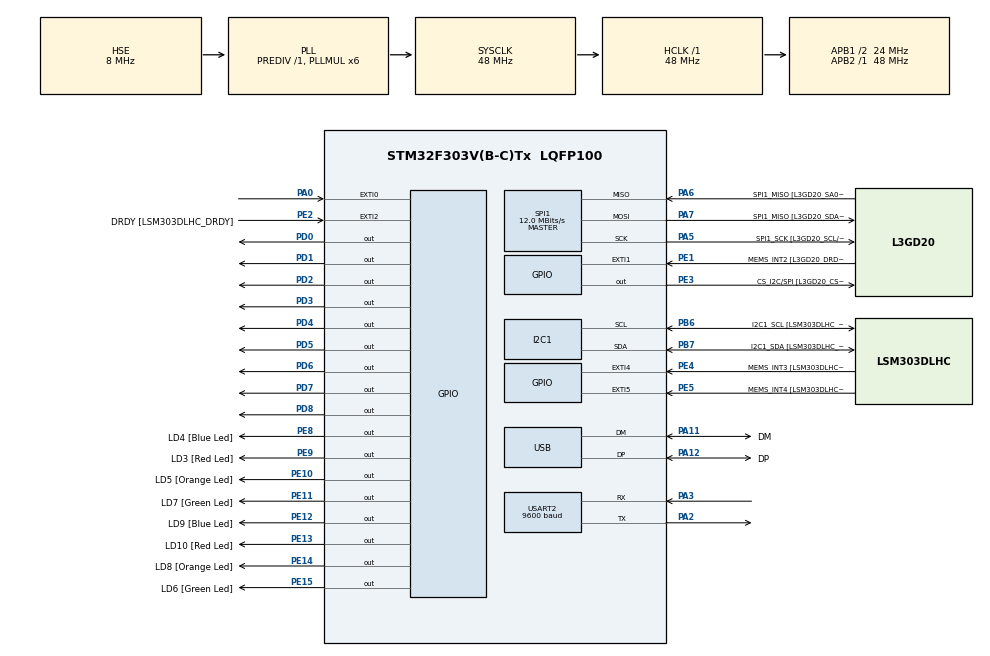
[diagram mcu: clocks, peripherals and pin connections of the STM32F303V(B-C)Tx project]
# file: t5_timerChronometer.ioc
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I2C1.Timing-I2C=0x2000090E
Mcu.Family=STM32F3
Mcu.Name=STM32F303V(B-C)Tx
Mcu.Package=LQFP100
NVIC.EXTI0_IRQn=true\:0\:0\:false\:false\:true\:true\:true\:true
NVIC.PriorityGroup=NVIC_PRIORITYGROUP_0
NVIC.TIM2_IRQn=true\:0\:0\:false\:false\:true\:true\:true\:true
NVIC.TIM4_IRQn=true\:0\:0\:false\:false\:true\:true\:true\:true
NVIC.USART2_IRQn=true\:0\:0\:false\:false\:true\:true\:true\:true
PA0.GPIO_ModeDefaultEXTI=GPIO_MODE_IT_RISING_FALLING
PA0.Signal=GPXTI0
PA11.GPIO_Label=DM
PA11.Mode=Device
PA11.Signal=USB_DM
PA12.GPIO_Label=DP
PA12.Mode=Device
PA12.Signal=USB_DP
PA13.GPIO_Label=SWDIO
PA13.Mode=Serial_Wire
PA13.Signal=SYS_JTMS-SWDIO
PA14.GPIO_Label=SWCLK
PA14.Mode=Serial_Wire
PA14.Signal=SYS_JTCK-SWCLK
PA2.Mode=Asynchronous
PA2.Signal=USART2_TX
PA3.Mode=Asynchronous
PA3.Signal=USART2_RX
PA5.GPIO_Label=SPI1_SCK [L3GD20_SCL/SPC]
PA5.Mode=Full_Duplex_Master
PA5.Signal=SPI1_SCK
PA6.GPIO_Label=SPI1_MISO [L3GD20_SA0/SDO]
PA6.Mode=Full_Duplex_Master
PA6.Signal=SPI1_MISO
PA7.GPIO_Label=SPI1_MISO [L3GD20_SDA/SDI/SDO]
PA7.Mode=Full_Duplex_Master
PA7.Signal=SPI1_MOSI
PB3.GPIO_Label=SWO
PB3.Signal=SYS_JTDO-TRACESWO
PB6.GPIO_Label=I2C1_SCL [LSM303DLHC_SCL]
PB6.GPIO_Pu=GPIO_PULLUP
PB6.Mode=I2C
PB6.Signal=I2C1_SCL
PB7.GPIO_Label=I2C1_SDA [LSM303DLHC_SDA]
PB7.GPIO_Pu=GPIO_PULLUP
PB7.Mode=I2C
PB7.Signal=I2C1_SDA
PC14-OSC32_IN.GPIO_Label=OSC32_IN
PC14-OSC32_IN.Signal=RCC_OSC32_IN
PC15-OSC32_OUT.GPIO_Label=OSC32_OUT
PC15-OSC32_OUT.Signal=RCC_OSC32_OUT
PD0.Signal=GPIO_Output
PD1.Signal=GPIO_Output
PD2.Signal=GPIO_Output
PD3.Signal=GPIO_Output
PD4.Signal=GPIO_Output
PD5.Signal=GPIO_Output
PD6.Signal=GPIO_Output
PD7.Signal=GPIO_Output
PD8.Signal=GPIO_Output
PE1.GPIO_Label=MEMS_INT2 [L3GD20_DRDY/INT2]
PE1.GPIO_ModeDefaultEXTI=GPIO_MODE_EVT_RISING
PE1.Signal=GPXTI1
PE10.GPIO_Label=LD5 [Orange Led]
PE10.Signal=GPIO_Output
PE11.GPIO_Label=LD7 [Green Led]
PE11.Signal=GPIO_Output
PE12.GPIO_Label=LD9 [Blue Led]
PE12.Signal=GPIO_Output
PE13.GPIO_Label=LD10 [Red Led]
PE13.Signal=GPIO_Output
PE14.GPIO_Label=LD8 [Orange Led]
PE14.Signal=GPIO_Output
PE15.GPIO_Label=LD6 [Green Led]
PE15.Signal=GPIO_Output
PE2.GPIO_Label=DRDY [LSM303DLHC_DRDY]
PE2.GPIO_ModeDefaultEXTI=GPIO_MODE_EVT_RISING
PE2.Signal=GPXTI2
PE3.GPIO_Label=CS_I2C/SPI [L3GD20_CS_I2C/SPI]
PE3.Signal=GPIO_Output
PE4.GPIO_Label=MEMS_INT3 [LSM303DLHC_INT1]
PE4.GPIO_ModeDefaultEXTI=GPIO_MODE_EVT_RISING
PE4.Signal=GPXTI4
PE5.GPIO_Label=MEMS_INT4 [LSM303DLHC_INT2]
PE5.GPIO_ModeDefaultEXTI=GPIO_MODE_EVT_RISING
PE5.Signal=GPXTI5
PE8.GPIO_Label=LD4 [Blue Led]
PE8.Signal=GPIO_Output
PE9.GPIO_Label=LD3 [Red Led]
PE9.Signal=GPIO_Output
PF0-OSC_IN.GPIO_Label=OSC_IN
PF0-OSC_IN.Mode=HSE-External-Clock-Source
PF0-OSC_IN.Signal=RCC_OSC_IN
PF1-OSC_OUT.GPIO_Label=OSC_OUT
PF1-OSC_OUT.Signal=RCC_OSC_OUT
ProjectManager.HeapSize=0x200
ProjectManager.StackSize=0x400
ProjectManager.TargetToolchain=STM32CubeIDE
RCC.AHBFreq_Value=48000000
RCC.APB1CLKDivider=RCC_HCLK_DIV2
RCC.APB1Freq_Value=24000000
RCC.APB1TimFreq_Value=48000000
RCC.APB2Freq_Value=48000000
RCC.APB2TimFreq_Value=48000000
RCC.CortexFreq_Value=48000000
RCC.HCLKFreq_Value=48000000
RCC.HSE_VALUE=8000000
RCC.HSI_VALUE=8000000
RCC.LSE_VALUE=32768
RCC.PLLMUL=RCC_PLL_MUL6
RCC.SYSCLKFreq_VALUE=48000000
RCC.SYSCLKSourceVirtual=RCC_SYSCLKSOURCE_PLLCLK
RCC.USBFreq_Value=48000000
SPI1.BaudRatePrescaler=SPI_BAUDRATEPRESCALER_4
SPI1.BaudRatePrescaler-Full_Duplex_Master=SPI_BAUDRATEPRESCALER_2
SPI1.CalculateBaudRate=12.0 MBits/s
SPI1.CalculateBaudRate-Full_Duplex_Master=24.0 MBits/s
SPI1.Direction=SPI_DIRECTION_2LINES
SPI1.Mode=SPI_MODE_MASTER
SPI1.Mode-Full_Duplex_Master=SPI_MODE_MASTER
SPI1.VirtualType=VM_MASTER
TIM2.Period=(1000-1)
TIM2.Prescaler=(240-1)
TIM4.Period=10000-1
TIM4.Prescaler=4800-1
USART2.BaudRate=9600
USART2.VirtualMode-Asynchronous=VM_ASYNC
VP_TIM2_VS_ClockSourceINT.Mode=Internal
VP_TIM4_VS_ClockSourceINT.Mode=Internal
board=STM32F3DISCOVERY

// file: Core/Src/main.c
/* USER CODE BEGIN Header */
/**
  ******************************************************************************
  * @file           : main.c
  * @brief          : Main program body
  ******************************************************************************
  * @attention
  *
  * Copyright (c) 2024 STMicroelectronics.
  * All rights reserved.
  *
  * This software is licensed under terms that can be found in the LICENSE file
  * in the root directory of this software component.
  * If no LICENSE file comes with this software, it is provided AS-IS.
  *
  ******************************************************************************
  */
/* USER CODE END Header */
#include "main.h"

I2C_HandleTypeDef hi2c1;

SPI_HandleTypeDef hspi1;

TIM_HandleTypeDef htim2;
TIM_HandleTypeDef htim4;

UART_HandleTypeDef huart2;

PCD_HandleTypeDef hpcd_USB_FS;

/* USER CODE BEGIN PV */
GPIO_TypeDef * pin = GPIOD;
uint16_t bit0 = GPIO_PIN_0;
uint16_t bit1 = GPIO_PIN_1;
uint16_t bit2 = GPIO_PIN_2;
uint16_t bit3 = GPIO_PIN_3;
uint16_t bitActive0 = GPIO_PIN_4;
uint16_t bitActive1 = GPIO_PIN_5;
uint16_t bitActive2 = GPIO_PIN_6;
uint16_t bitActive3 = GPIO_PIN_7;

uint8_t initial_time[4];
uint8_t time[4] = {1, 2, 3, 4}; // [3, 2, 1, 0] MM:SS

uint8_t chr_timer = 2;
uint8_t uart_mode = 0;
uint8_t stop = 1;
static uint8_t last_chr_timer;

char data[100] = "salam";

/* USER CODE END PV */

void SystemClock_Config(void);
static void MX_GPIO_Init(void);
static void MX_I2C1_Init(void);
static void MX_SPI1_Init(void);
static void MX_USB_PCD_Init(void);
static void MX_USART2_UART_Init(void);
static void MX_TIM2_Init(void);
static void MX_TIM4_Init(void);

/* USER CODE BEGIN 0 */

enum TIMER_TYPE {
	CHRONOMETER,
	TIMER
};

enum TIMER_STATAE {
	START, PAUSE, TIMRESET
};

void uartError() {
	strcpy(data, "INVALID INPUT");
	HAL_UART_Transmit(&huart2, data, 13, 50);
}

void uartLog(uint8_t tmtype, uint8_t tmstate) {
	(data, (tmtype == CHRONOMETER) ? "CHRONOMETER" : "TIMER");
	sprintf(data, "[%s] : [%s] : [%d%d:%d%d]", (tmtype == CHRONOMETER) ? "CHRONOMETER" : "TIMER", (tmstate == START) ? "START" : (tmstate == PAUSE) ? "PAUSE" : "RESET", time[0], time[1], time[2], time[3], "\n");
	uint8_t length = (tmtype == TIMER ? 27 : 33);
	HAL_UART_Transmit(&huart2, data, length, 100);
}

void HAL_UART_RxCpltCallback(UART_HandleTypeDef *huart) {

	if(uart_mode == 0) {
		data[5] = '\0';
//		HAL_UART_Transmit(&huart2, data, 6, 100);
		if(strcmp(data, "TIMER") == 0) {
			uart_mode = 1;
			last_chr_timer = 1;
			strcpy(data, "SET TIME");
			HAL_UART_Transmit(&huart2, data, 8, 50);
			HAL_UART_Receive_IT(&huart2, data, 5);
		}
		else {
			HAL_UART_Receive(&huart2, data+5, 6, 100);
			data[11] = '\0';

			if (strcmp(data, "CHRONOMETER") == 0) {
				initial_time[0] = initial_time[1] = initial_time[2] = initial_time[3] = 0;
				last_chr_timer = 0;
			}
			else {
				uartError();
			}
		}
//
//	if(uart_mode == 0) {
//		if(data[0] == 'c') {
//			initial_time[0] = initial_time[1] = initial_time[2] = initial_time[3] = 0;
//			last_chr_timer = 0;
//		} else if(data[0] == 't') {
//			uart_mode = 1;
//			last_chr_timer = 1;
//			strcpy(data, "SET TIME");
//			HAL_UART_Transmit(&huart2, data, 8, 50);
//			HAL_UART_Receive_IT(&huart2, data, 5);
//			}
	} else if (uart_mode == 1) {
		uint8_t s0 = data[4] - '0';
		if(s0 > 9 || s0 < 0){
			uartError();
			strcpy(data, "SET TIME");
			HAL_UART_Transmit(&huart2, data, 8, 50);
			HAL_UART_Receive_IT(&huart2, data, 5);
			return;
		}
		uint8_t s1 = data[3] - '0';
		if(s1 > 5 || s1 < 0) {
			uartError();
			strcpy(data, "SET TIME");
			HAL_UART_Transmit(&huart2, data, 8, 50);
			HAL_UART_Receive_IT(&huart2, data, 5);
			return;
		}
		uint8_t m0 = data[1] - '0';
		if(m0 > 9 || m0 < 0) {
			uartError();
			strcpy(data, "SET TIME");
			HAL_UART_Transmit(&huart2, data, 8, 50);
			HAL_UART_Receive_IT(&huart2, data, 5);
			return;
		}
		uint8_t m1 = data[0] - '0';
		if(m1 > 5 || m1 < 0) {
			uartError();
			strcpy(data, "SET TIME");
			HAL_UART_Transmit(&huart2, data, 8, 50);
			HAL_UART_Receive_IT(&huart2, data, 5);
			return;
		}
		if(data[2] != ':') {
			uartError();
			strcpy(data, "SET TIME");
			HAL_UART_Transmit(&huart2, data, 8, 50);
			HAL_UART_Receive_IT(&huart2, data, 5);
			return;
		}
		initial_time[0] = time[0] = m1;
		initial_time[1] = time[1] = m0;
		initial_time[2] = time[2] = s1;
		initial_time[3] = time[3] = s0;
	}

}

void HAL_GPIO_EXTI_Callback(uint16_t GPIO_Pin)
{
    if (GPIO_Pin == GPIO_PIN_0)
    {
    	static uint32_t last_time = 0;
    	static uint8_t last_state = 0;
    	if(HAL_GetTick() - last_time < 100)
    		return ;
    	if (HAL_GPIO_ReadPin(GPIOA, GPIO_PIN_0) && last_state == 0) {
	    	last_time = HAL_GetTick();
	    	last_state = 1;
    	}
    	else if(!HAL_GPIO_ReadPin(GPIOA, GPIO_PIN_0)) {
    		if(HAL_GetTick() - last_time >= 3000) {
    			if(!stop) last_chr_timer = chr_timer;
    			stop = 1;
    			chr_timer = 2;
    			time[0] = initial_time[0];
    			time[1] = initial_time[1];
    			time[2] = initial_time[2];
    			time[3] = initial_time[3];
    			uartLog(last_chr_timer == 0 ? CHRONOMETER : TIMER, TIMRESET);
    			last_time = HAL_GetTick();
    		}
    		else {
    			if(stop) {
    				chr_timer = last_chr_timer;
    				stop = 0;
        			uartLog(chr_timer == 0 ? CHRONOMETER : TIMER, START);

    			}
    			else {
    				last_chr_timer = chr_timer;
    				chr_timer = 2;
    				stop = 1;
        			uartLog(last_chr_timer == 0 ? CHRONOMETER : TIMER, PAUSE);

    			}
    			last_time = HAL_GetTick();
    		}
			last_state = 0;
    	}
    }
}

void display_digit(uint8_t num, uint8_t digit, uint8_t dcpoint){
	// Which of the four digits is this
	// Active high 7-segment, low pin -> digit on
    HAL_GPIO_WritePin(pin, bitActive0, digit == 0 ? 0 : 1);
    HAL_GPIO_WritePin(pin, bitActive1, digit == 1 ? 0 : 1);
    HAL_GPIO_WritePin(pin, bitActive2, digit == 2 ? 0 : 1);
    HAL_GPIO_WritePin(pin, bitActive3, digit == 3 ? 0 : 1);

    // ABCD BCD Output
    HAL_GPIO_WritePin(pin, bit0, (num == 1 || num == 3 || num == 5 || num == 7 || num == 9));
    HAL_GPIO_WritePin(pin, bit1, (num == 2 || num == 3 || num == 6 || num == 7));
    HAL_GPIO_WritePin(pin, bit2, (num == 4 || num == 5 || num == 6 || num == 7));
    HAL_GPIO_WritePin(pin, bit3, (num == 8 || num == 9));

    // Is decimal point on or off for digit?
    HAL_GPIO_WritePin(GPIOD, GPIO_PIN_8, dcpoint == 1 ? 1 : 0);
//    HAL_Delay(delay);
  }

void HAL_TIM_PeriodElapsedCallback(TIM_HandleTypeDef *htim) {
	if(htim == &htim2) {
		static digitno = 0;
		display_digit(time[digitno], digitno, digitno == 1);
		++digitno;
		digitno %= 4;
	}

	if(htim == &htim4) {
		if(chr_timer == 0) {
			++time[3];
				if(time[3] == 10) {
					time[3] = 0;
					++time[2];
					if(time[2] == 6) {
						time[2] = 0;
						++time[1];
						if(time[1] == 10) {
							time[1] = 0;
							++time[0];
							time[0] %= 6;
						}
					}
			}
		} else if (chr_timer == 1) {
			if(time[3] == 0) {
				if(time[2] == time[1] == time[0] == 0) {
					// finish
					chr_timer = 2;
					return;
				}
				time[3] = 9;
				if(time[2] == 0) {
					time[2] = 5;
					if(time[1] == 0) {
						time[1] = 9;
						if(time[0] == 9)
							time[0] = 5;
						else -- time[0];
					}
					else --time[1];
				}
				else --time[2];
			}
			else --time[3];

		}

		}
}

/* USER CODE END 0 */

int main(void)
{

  /* MCU Configuration--------------------------------------------------------*/

  /* Reset of all peripherals, Initializes the Flash interface and the Systick. */
  HAL_Init();

  /* Configure the system clock */
  SystemClock_Config();

  /* Initialize all configured peripherals */
  MX_GPIO_Init();
  MX_I2C1_Init();
  MX_SPI1_Init();
  MX_USB_PCD_Init();
  MX_USART2_UART_Init();
  MX_TIM2_Init();
  MX_TIM4_Init();

  /* Infinite loop */
  /* USER CODE BEGIN WHILE */

//  HAL_UART_Transmit(&huart2, data, 4, 100);

  strcpy(data, "CHOOSE[TIMER/CHRONOMETER]");
  HAL_UART_Transmit(&huart2, data, strlen(data), 100);
  HAL_UART_Receive_IT(&huart2, data, 5);
  time[3] = time[2] = time[1] = time[0] = 0;
  HAL_TIM_Base_Start_IT(&htim2);
  HAL_TIM_Base_Start_IT(&htim4);
  while (1)
  {
    /* USER CODE END WHILE */

  }
}

void SystemClock_Config(void)
{
  RCC_OscInitTypeDef RCC_OscInitStruct = {0};
  RCC_ClkInitTypeDef RCC_ClkInitStruct = {0};
  RCC_PeriphCLKInitTypeDef PeriphClkInit = {0};

  /** Initializes the RCC Oscillators according to the specified parameters
  * in the RCC_OscInitTypeDef structure.
  */
  RCC_OscInitStruct.OscillatorType = RCC_OSCILLATORTYPE_HSI|RCC_OSCILLATORTYPE_HSE;
  RCC_OscInitStruct.HSEState = RCC_HSE_BYPASS;
  RCC_OscInitStruct.HSEPredivValue = RCC_HSE_PREDIV_DIV1;
  RCC_OscInitStruct.HSIState = RCC_HSI_ON;
  RCC_OscInitStruct.HSICalibrationValue = RCC_HSICALIBRATION_DEFAULT;
  RCC_OscInitStruct.PLL.PLLState = RCC_PLL_ON;
  RCC_OscInitStruct.PLL.PLLSource = RCC_PLLSOURCE_HSE;
  RCC_OscInitStruct.PLL.PLLMUL = RCC_PLL_MUL6;
  if (HAL_RCC_OscConfig(&RCC_OscInitStruct) != HAL_OK)
  {
    Error_Handler();
  }

  /** Initializes the CPU, AHB and APB buses clocks
  */
  RCC_ClkInitStruct.ClockType = RCC_CLOCKTYPE_HCLK|RCC_CLOCKTYPE_SYSCLK
                              |RCC_CLOCKTYPE_PCLK1|RCC_CLOCKTYPE_PCLK2;
  RCC_ClkInitStruct.SYSCLKSource = RCC_SYSCLKSOURCE_PLLCLK;
  RCC_ClkInitStruct.AHBCLKDivider = RCC_SYSCLK_DIV1;
  RCC_ClkInitStruct.APB1CLKDivider = RCC_HCLK_DIV2;
  RCC_ClkInitStruct.APB2CLKDivider = RCC_HCLK_DIV1;

  if (HAL_RCC_ClockConfig(&RCC_ClkInitStruct, FLASH_LATENCY_1) != HAL_OK)
  {
    Error_Handler();
  }
  PeriphClkInit.PeriphClockSelection = RCC_PERIPHCLK_USB|RCC_PERIPHCLK_USART2
                              |RCC_PERIPHCLK_I2C1;
  PeriphClkInit.Usart2ClockSelection = RCC_USART2CLKSOURCE_PCLK1;
  PeriphClkInit.I2c1ClockSelection = RCC_I2C1CLKSOURCE_HSI;
  PeriphClkInit.USBClockSelection = RCC_USBCLKSOURCE_PLL;
  if (HAL_RCCEx_PeriphCLKConfig(&PeriphClkInit) != HAL_OK)
  {
    Error_Handler();
  }
}

static void MX_I2C1_Init(void)
{

  hi2c1.Instance = I2C1;
  hi2c1.Init.Timing = 0x2000090E;
  hi2c1.Init.OwnAddress1 = 0;
  hi2c1.Init.AddressingMode = I2C_ADDRESSINGMODE_7BIT;
  hi2c1.Init.DualAddressMode = I2C_DUALADDRESS_DISABLE;
  hi2c1.Init.OwnAddress2 = 0;
  hi2c1.Init.OwnAddress2Masks = I2C_OA2_NOMASK;
  hi2c1.Init.GeneralCallMode = I2C_GENERALCALL_DISABLE;
  hi2c1.Init.NoStretchMode = I2C_NOSTRETCH_DISABLE;
  if (HAL_I2C_Init(&hi2c1) != HAL_OK)
  {
    Error_Handler();
  }

  /** Configure Analogue filter
  */
  if (HAL_I2CEx_ConfigAnalogFilter(&hi2c1, I2C_ANALOGFILTER_ENABLE) != HAL_OK)
  {
    Error_Handler();
  }

  /** Configure Digital filter
  */
  if (HAL_I2CEx_ConfigDigitalFilter(&hi2c1, 0) != HAL_OK)
  {
    Error_Handler();
  }

}

static void MX_SPI1_Init(void)
{

  /* SPI1 parameter configuration*/
  hspi1.Instance = SPI1;
  hspi1.Init.Mode = SPI_MODE_MASTER;
  hspi1.Init.Direction = SPI_DIRECTION_2LINES;
  hspi1.Init.DataSize = SPI_DATASIZE_4BIT;
  hspi1.Init.CLKPolarity = SPI_POLARITY_LOW;
  hspi1.Init.CLKPhase = SPI_PHASE_1EDGE;
  hspi1.Init.NSS = SPI_NSS_SOFT;
  hspi1.Init.BaudRatePrescaler = SPI_BAUDRATEPRESCALER_4;
  hspi1.Init.FirstBit = SPI_FIRSTBIT_MSB;
  hspi1.Init.TIMode = SPI_TIMODE_DISABLE;
  hspi1.Init.CRCCalculation = SPI_CRCCALCULATION_DISABLE;
  hspi1.Init.CRCPolynomial = 7;
  hspi1.Init.CRCLength = SPI_CRC_LENGTH_DATASIZE;
  hspi1.Init.NSSPMode = SPI_NSS_PULSE_ENABLE;
  if (HAL_SPI_Init(&hspi1) != HAL_OK)
  {
    Error_Handler();
  }

}

static void MX_TIM2_Init(void)
{

  TIM_ClockConfigTypeDef sClockSourceConfig = {0};
  TIM_MasterConfigTypeDef sMasterConfig = {0};

  htim2.Instance = TIM2;
  htim2.Init.Prescaler = (240-1);
  htim2.Init.CounterMode = TIM_COUNTERMODE_UP;
  htim2.Init.Period = (1000-1);
  htim2.Init.ClockDivision = TIM_CLOCKDIVISION_DIV1;
  htim2.Init.AutoReloadPreload = TIM_AUTORELOAD_PRELOAD_DISABLE;
  if (HAL_TIM_Base_Init(&htim2) != HAL_OK)
  {
    Error_Handler();
  }
  sClockSourceConfig.ClockSource = TIM_CLOCKSOURCE_INTERNAL;
  if (HAL_TIM_ConfigClockSource(&htim2, &sClockSourceConfig) != HAL_OK)
  {
    Error_Handler();
  }
  sMasterConfig.MasterOutputTrigger = TIM_TRGO_RESET;
  sMasterConfig.MasterSlaveMode = TIM_MASTERSLAVEMODE_DISABLE;
  if (HAL_TIMEx_MasterConfigSynchronization(&htim2, &sMasterConfig) != HAL_OK)
  {
    Error_Handler();
  }

}

static void MX_TIM4_Init(void)
{

  TIM_ClockConfigTypeDef sClockSourceConfig = {0};
  TIM_MasterConfigTypeDef sMasterConfig = {0};

  htim4.Instance = TIM4;
  htim4.Init.Prescaler = 4800-1;
  htim4.Init.CounterMode = TIM_COUNTERMODE_UP;
  htim4.Init.Period = 10000-1;
  htim4.Init.ClockDivision = TIM_CLOCKDIVISION_DIV1;
  htim4.Init.AutoReloadPreload = TIM_AUTORELOAD_PRELOAD_DISABLE;
  if (HAL_TIM_Base_Init(&htim4) != HAL_OK)
  {
    Error_Handler();
  }
  sClockSourceConfig.ClockSource = TIM_CLOCKSOURCE_INTERNAL;
  if (HAL_TIM_ConfigClockSource(&htim4, &sClockSourceConfig) != HAL_OK)
  {
    Error_Handler();
  }
  sMasterConfig.MasterOutputTrigger = TIM_TRGO_RESET;
  sMasterConfig.MasterSlaveMode = TIM_MASTERSLAVEMODE_DISABLE;
  if (HAL_TIMEx_MasterConfigSynchronization(&htim4, &sMasterConfig) != HAL_OK)
  {
    Error_Handler();
  }

}

static void MX_USART2_UART_Init(void)
{

  huart2.Instance = USART2;
  huart2.Init.BaudRate = 9600;
  huart2.Init.WordLength = UART_WORDLENGTH_8B;
  huart2.Init.StopBits = UART_STOPBITS_1;
  huart2.Init.Parity = UART_PARITY_NONE;
  huart2.Init.Mode = UART_MODE_TX_RX;
  huart2.Init.HwFlowCtl = UART_HWCONTROL_NONE;
  huart2.Init.OverSampling = UART_OVERSAMPLING_16;
  huart2.Init.OneBitSampling = UART_ONE_BIT_SAMPLE_DISABLE;
  huart2.AdvancedInit.AdvFeatureInit = UART_ADVFEATURE_NO_INIT;
  if (HAL_UART_Init(&huart2) != HAL_OK)
  {
    Error_Handler();
  }

}

static void MX_USB_PCD_Init(void)
{

  hpcd_USB_FS.Instance = USB;
  hpcd_USB_FS.Init.dev_endpoints = 8;
  hpcd_USB_FS.Init.speed = PCD_SPEED_FULL;
  hpcd_USB_FS.Init.phy_itface = PCD_PHY_EMBEDDED;
  hpcd_USB_FS.Init.low_power_enable = DISABLE;
  hpcd_USB_FS.Init.battery_charging_enable = DISABLE;
  if (HAL_PCD_Init(&hpcd_USB_FS) != HAL_OK)
  {
    Error_Handler();
  }

}

static void MX_GPIO_Init(void)
{
  GPIO_InitTypeDef GPIO_InitStruct = {0};

  /* GPIO Ports Clock Enable */
  __HAL_RCC_GPIOE_CLK_ENABLE();
  __HAL_RCC_GPIOC_CLK_ENABLE();
  __HAL_RCC_GPIOF_CLK_ENABLE();
  __HAL_RCC_GPIOA_CLK_ENABLE();
  __HAL_RCC_GPIOD_CLK_ENABLE();
  __HAL_RCC_GPIOB_CLK_ENABLE();

  /*Configure GPIO pin Output Level */
  HAL_GPIO_WritePin(GPIOE, CS_I2C_SPI_Pin|LD4_Pin|LD3_Pin|LD5_Pin
                          |LD7_Pin|LD9_Pin|LD10_Pin|LD8_Pin
                          |LD6_Pin, GPIO_PIN_RESET);

  /*Configure GPIO pin Output Level */
  HAL_GPIO_WritePin(GPIOD, GPIO_PIN_8|GPIO_PIN_0|GPIO_PIN_1|GPIO_PIN_2
                          |GPIO_PIN_3|GPIO_PIN_4|GPIO_PIN_5|GPIO_PIN_6
                          |GPIO_PIN_7, GPIO_PIN_RESET);

  /*Configure GPIO pins : DRDY_Pin MEMS_INT3_Pin MEMS_INT4_Pin MEMS_INT2_Pin */
  GPIO_InitStruct.Pin = DRDY_Pin|MEMS_INT3_Pin|MEMS_INT4_Pin|MEMS_INT2_Pin;
  GPIO_InitStruct.Mode = GPIO_MODE_EVT_RISING;
  GPIO_InitStruct.Pull = GPIO_NOPULL;
  HAL_GPIO_Init(GPIOE, &GPIO_InitStruct);

  /*Configure GPIO pins : CS_I2C_SPI_Pin LD4_Pin LD3_Pin LD5_Pin
                           LD7_Pin LD9_Pin LD10_Pin LD8_Pin
                           LD6_Pin */
  GPIO_InitStruct.Pin = CS_I2C_SPI_Pin|LD4_Pin|LD3_Pin|LD5_Pin
                          |LD7_Pin|LD9_Pin|LD10_Pin|LD8_Pin
                          |LD6_Pin;
  GPIO_InitStruct.Mode = GPIO_MODE_OUTPUT_PP;
  GPIO_InitStruct.Pull = GPIO_NOPULL;
  GPIO_InitStruct.Speed = GPIO_SPEED_FREQ_LOW;
  HAL_GPIO_Init(GPIOE, &GPIO_InitStruct);

  /*Configure GPIO pin : PA0 */
  GPIO_InitStruct.Pin = GPIO_PIN_0;
  GPIO_InitStruct.Mode = GPIO_MODE_IT_RISING_FALLING;
  GPIO_InitStruct.Pull = GPIO_NOPULL;
  HAL_GPIO_Init(GPIOA, &GPIO_InitStruct);

  /*Configure GPIO pins : PD8 PD0 PD1 PD2
                           PD3 PD4 PD5 PD6
                           PD7 */
  GPIO_InitStruct.Pin = GPIO_PIN_8|GPIO_PIN_0|GPIO_PIN_1|GPIO_PIN_2
                          |GPIO_PIN_3|GPIO_PIN_4|GPIO_PIN_5|GPIO_PIN_6
                          |GPIO_PIN_7;
  GPIO_InitStruct.Mode = GPIO_MODE_OUTPUT_PP;
  GPIO_InitStruct.Pull = GPIO_NOPULL;
  GPIO_InitStruct.Speed = GPIO_SPEED_FREQ_LOW;
  HAL_GPIO_Init(GPIOD, &GPIO_InitStruct);

  /* EXTI interrupt init*/
  HAL_NVIC_SetPriority(EXTI0_IRQn, 0, 0);
  HAL_NVIC_EnableIRQ(EXTI0_IRQn);

}

void Error_Handler(void)
{
  __disable_irq();
  while (1)
  {
  }
}
